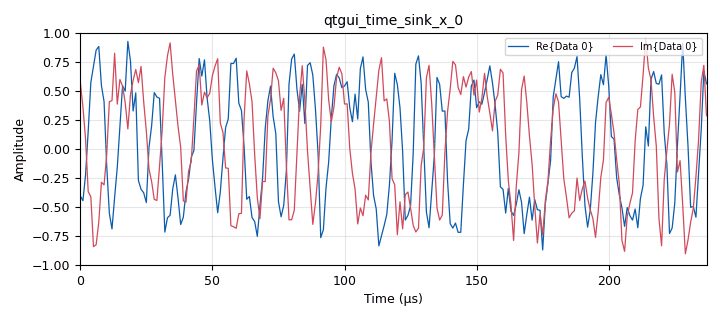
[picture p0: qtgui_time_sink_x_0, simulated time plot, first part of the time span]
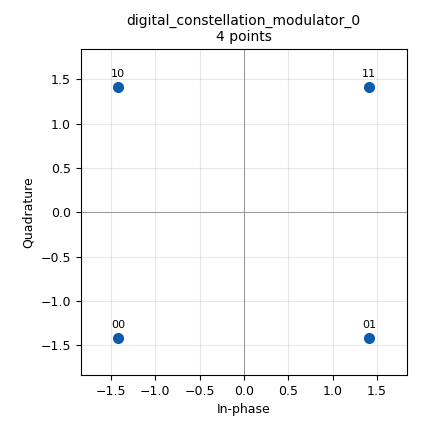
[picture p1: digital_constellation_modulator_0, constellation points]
options:
  parameters:
    author: Marc Lichtman
    comment: |-
      Run Rx first, then run Tx
      Close Rx first, then close Tx
    generate_options: qt_gui
    id: pn11_over_difi_tx
    output_language: python
    title: PN11 Over DIFI Tx
  states: {}

blocks:
- name: constellation_obj
  id: variable_constellation
  parameters:
    precision: '8'
    type: qpsk
  states: {}
- name: difi_samp_rate
  id: variable
  parameters:
    comment: |-
      below 1 MHz I get tons
      of out of order packets
      for some reason
    value: '1000000'
  states: {}
- name: noise
  id: variable_qtgui_range
  parameters:
    label: Noise Level
    start: '0'
    step: '0.01'
    stop: '2'
    value: '0.5'
  states: {}
- name: sps
  id: variable
  parameters:
    value: '4'
  states: {}
- name: analog_fastnoise_source_x_0
  id: analog_fastnoise_source_x
  parameters:
    amp: noise
    noise_type: analog.GR_GAUSSIAN
    samples: '8192'
    seed: '0'
    type: complex
  states: {}
- name: blocks_add_xx_0
  id: blocks_add_xx
  parameters:
    type: complex
  states: {}
- name: blocks_complex_to_interleaved_char_0
  id: blocks_complex_to_interleaved_char
  parameters:
    scale_factor: '1.0'
    vector_output: 'True'
  states: {}
- name: blocks_multiply_const_vxx_0
  id: blocks_multiply_const_vxx
  parameters:
    comment: 127 for 8-bit
    const: '127'
    type: complex
  states: {}
- name: blocks_multiply_const_vxx_0_0
  id: blocks_multiply_const_vxx
  parameters:
    comment: |-
      Signal should stay
      between -1 to +1
    const: '0.35'
    type: complex
  states: {}
- name: blocks_pack_k_bits_bb_0
  id: blocks_pack_k_bits_bb
  parameters:
    k: '8'
  states: {}
- name: blocks_throttle2_0
  id: blocks_throttle2
  parameters:
    samples_per_second: difi_samp_rate/2
    type: byte
  states: {}
- name: blocks_vector_source_x_0
  id: blocks_vector_source_x
  parameters:
    comment: |-
      Vector was copied from
      python snippet below
    repeat: 'True'
    type: byte
    vector: (1,0,0,0,0,0,0,0,0,0,0,1,0,0,0,0,0,0,0,0,1,0,1,0,0,0,0,0,0,1,0,0,0,1,0,0,0,0,1,0,1,0,1,0,1,0,0,1,0,0,0,0,0,0,0,1,1,0,1,0,0,0,0,0,1,1,1,0,0,1,0,0,0,1,1,0,1,1,1,0,1,0,1,1,1,0,1,0,1,0,0,0,1,0,1,0,0,0,0,1,0,1,0,0,0,1,0,0,1,0,0,0,1,0,1,0,1,1,0,1,0,1,0,0,0,0,1,1,0,0,0,0,1,0,0,1,1,1,1,0,0,1,0,1,1,1,0,0,1,1,1,0,0,1,0,1,1,1,1,0,1,1,1,0,0,1,0,0,1,0,1,0,1,1,1,0,1,1,0,0,0,0,1,0,1,0,1,1,1,0,0,1,0,0,0,0,1,0,1,1,1,0,1,0,0,1,0,0,1,0,1,0,0,1,1,0,1,1,0,0,0,1,1,1,1,0,1,1,1,0,1,1,0,0,1,0,1,0,1,0,1,1,1,1,0,0,0,0,0,0,1,0,0,1,1,0,0,0,0,1,0,1,1,1,1,1,0,0,1,0,0,1,0,0,0,1,1,1,0,1,1,0,1,0,1,1,0,1,0,1,1,0,0,0,1,1,0,0,0,1,1,1,0,1,1,1,1,0,1,1,0,1,0,1,0,0,1,0,1,1,0,0,0,0,1,1,0,0,1,1,1,0,0,1,1,1,1,1,1,0,1,1,1,1,0,0,0,0,1,0,1,0,0,1,1,0,0,1,0,0,0,1,1,1,1,1,1,0,1,0,1,1,0,0,0,0,1,0,0,0,1,1,1,0,0,1,0,1,0,1,1,0,1,1,1,0,0,0,0,1,1,0,1,0,1,1,0,0,1,1,1,0,0,0,1,1,1,1,1,0,1,1,0,1,1,0,0,0,1,0,1,1,0,1,1,1,0,1,0,0,1,1,0,1,0,1,0,0,1,1,1,1,0,0,0,0,1,1,1,0,0,1,1,0,0,1,1,0,1,1,1,1,1,1,1,1,1,0,1,0,0,0,0,0,0,0,1,0,0,1,0,0,0,0,0,1,0,1,1,0,1,0,0,0,1,0,0,1,1,0,0,1,0,1,0,1,1,1,1,1,1,0,0,0,0,1,0,0,0,0,1,1,0,0,1,0,1,0,0,1,1,1,1,1,0,0,0,1,1,1,0,0,0,1,1,0,1,1,0,1,1,0,1,1,1,0,1,1,0,1,1,0,1,0,1,0,1,1,0,1,1,0,0,0,0,0,1,1,0,1,1,1,0,0,0,1,1,1,0,1,0,1,1,0,1,1,0,1,0,0,0,1,1,0,1,1,0,0,1,0,1,1,1,0,1,1,1,1,0,0,1,0,1,0,1,0,0,1,1,1,0,0,0,0,0,1,1,1,0,1,1,0,0,0,1,1,0,1,0,1,1,1,0,1,1,1,0,0,0,1,0,1,0,1,0,1,1,0,1,0,0,0,0,0,0,1,1,0,0,1,0,0,0,0,1,1,1,1,1,0,1,0,0,1,1,0,0,0,1,0,0,1,1,1,1,1,0,1,0,1,1,1,0,0,0,1,0,0,0,1,0,1,1,0,1,0,1,0,1,0,0,1,1,0,0,0,0,0,0,1,1,1,1,1,0,0,0,0,1,1,0,0,0,1,1,0,0,1,1,1,1,0,1,1,1,1,1,1,0,0,1,0,1,0,0,0,0,1,1,1,0,0,0,1,0,0,1,1,0,1,1,0,1,0,1,1,1,1,0,1,1,0,0,0,1,0,0,1,0,1,1,1,0,1,0,1,1,0,0,1,0,1,0,0,0,1,1,1,1,0,0,0,1,0,1,1,0,0,1,1,0,1,0,0,1,1,1,1,1,1,0,0,1,1,1,0,0,0,0,1,1,1,1,0,1,1,0,0,1,1,0,0,1,0,1,1,1,1,1,1,1,1,0,0,1,0,0,0,0,0,0,1,1,1,0,1,0,0,0,0,1,1,0,1,0,0,1,0,0,1,1,1,0,0,1,1,0,1,1,1,0,1,1,1,1,1,0,1,0,1,0,1,0,0,0,1,0,0,0,0,0,0,1,0,1,0,1,0,0,0,0,1,0,0,0,0,0,1,0,0,1,0,1,0,0,0,1,0,1,1,0,0,0,1,0,1,0,0,1,1,1,0,1,0,0,0,1,1,1,0,1,0,0,1,0,1,1,0,1,0,0,1,1,0,0,1,1,0,0,1,1,1,1,1,1,1,1,1,1,1,0,0,0,0,0,0,0,0,0,1,1,0,0,0,0,0,0,0,1,1,1,1,0,0,0,0,0,1,1,0,0,1,1,0,0,0,1,1,1,1,1,1,1,1,0,1,1,0,0,0,0,0,0,1,0,1,1,1,0,0,0,0,1,0,0,1,0,1,1,0,0,1,0,1,1,0,0,1,1,1,1,0,0,1,1,1,1,1,0,0,1,1,1,1,0,0,0,1,1,1,1,0,0,1,1,0,1,1,0,0,1,1,1,1,1,0,1,1,1,1,1,0,0,0,1,0,1,0,0,0,1,1,0,1,0,0,0,1,0,1,1,1,0,0,1,0,1,0,0,1,0,1,1,1,0,0,0,1,1,0,0,1,0,1,1,0,1,1,1,1,1,0,0,1,1,0,1,0,0,0,1,1,1,1,1,0,0,1,0,1,1,0,0,0,1,1,1,0,0,1,1,1,0,1,1,0,1,1,1,1,0,1,0,1,1,0,1,0,0,1,0,0,0,1,1,0,0,1,1,0,1,0,1,1,1,1,1,1,1,0,0,0,1,0,0,0,0,0,1,1,0,1,0,1,0,0,0,1,1,1,0,0,0,0,1,0,1,1,0,1,1,0,0,1,0,0,1,1,0,1,1,1,1,0,1,1,1,1,0,1,0,0,1,0,1,0,0,1,0,0,1,1,0,0,0,1,1,0,1,1,1,1,1,0,1,1,1,0,1,0,0,0,1,0,1,0,1,0,0,1,0,1,0,0,0,0,0,1,1,0,0,0,1,0,0,0,1,1,1,1,0,1,0,1,0,1,1,0,0,1,0,0,0,0,0,1,1,1,1,0,1,0,0,0,1,1,0,0,1,0,0,1,0,1,1,1,1,1,0,1,1,0,0,1,0,0,0,1,0,1,1,1,1,0,1,0,1,0,0,1,0,0,1,0,0,0,0,1,1,0,1,1,0,1,0,0,1,1,1,0,1,1,0,0,1,1,1,0,1,0,1,1,1,1,1,0,1,0,0,0,1,0,0,0,1,0,0,1,0,1,0,1,0,1,0,1,1,0,0,0,0,0,0,0,0,1,1,1,0,0,0,0,0,0,1,1,0,1,1,0,0,0,0,1,1,1,0,1,1,1,0,0,1,1,0,1,0,1,0,1,1,1,1,1,0,0,0,0,0,1,0,0,0,1,1,0,0,0,1,0,1,0,1,1,1,1,0,1,0,0,0,0,1,0,0,1,0,0,1,0,0,1,0,1,1,0,1,1,0,1,1,0,0,1,1,0,1,1,0,1,1,1,1,1,1,0,1,1,0,1,0,0,0,0,1,0,1,1,0,0,1,0,0,1,0,0,1,1,1,1,0,1,1,0,1,1,1,0,0,1,0,1,1,0,1,0,1,1,1,0,0,1,1,0,0,0,1,0,1,1,1,1,1,1,0,1,0,0,1,0,0,0,0,1,0,0,1,1,0,1,0,0,1,0,1,1,1,1,0,0,1,1,0,0,1,0,0,1,1,1,1,1,1,1,0,1,1,1,0,0,0,0,0,1,0,1,0,1,1,0,0,0,1,0,0,0,0,1,1,1,0,1,0,1,0,0,1,1,0,1,0,0,0,0,1,1,1,1,0,0,1,0,0,1,1,0,0,1,1,1,0,1,1,1,1,1,1,1,0,1,0,1,0,0,0,0,0,1,0,0,0,0,1,0,0,0,1,0,1,0,0,1,0,1,0,1,0,0,0,1,1,0,0,0,0,0,1,0,1,1,1,1,0,0,0,1,0,0,1,0,0,1,1,0,1,0,1,1,0,1,1,1,1,0,0,0,1,1,0,1,0,0,1,1,0,1,1,1,0,0,1,1,1,1,0,1,0,1,1,1,1,0,0,1,0,0,0,1,0,0,1,1,1,0,1,0,1,0,1,1,1,0,1,0,0,0,0,0,1,0,1,0,0,1,0,0,0,1,0,0,0,1,1,0,1,0,1,0,1,0,1,1,1,0,0,0,0,0,0,0,1,0,1,1,0,0,0,0,0,1,0,0,1,1,1,0,0,0,1,0,1,1,1,0,1,1,0,1,0,0,1,0,1,0,1,1,0,0,1,1,0,0,0,0,1,1,1,1,1,1,1,0,0,1,1,0,0,0,0,0,1,1,1,1,1,1,0,0,0,1,1,0,0,0,0,1,1,0,1,1,1,1,0,0,1,1,1,0,1,0,0,1,1,1,1,0,1,0,0,1,1,1,0,0,1,0,0,1,1,1,0,1,1,1,0,1,1,1,0,1,0,1,0,1,0,1,0)
  states: {}
- name: difi_sink_cpp_0
  id: difi_sink_cpp
  parameters:
    bit_depth: '8'
    comment: |-
      there are 2 items going into the DIFI Sink for
      every 1 bit coming out of the source block
      (2 bits per symbol but 4 samples per symbol)
    context_pack_size: '108'
    context_packet_send_count: '10'
    data_size: '128'
    ip_addr: 127.0.0.1
    port: '50003'
    protocol: '2'
    sample_rate: difi_samp_rate
    stream_id: '0'
  states: {}
- name: digital_constellation_modulator_0
  id: digital_constellation_modulator
  parameters:
    constellation: constellation_obj
    differential: 'False'
    excess_bw: '0.35'
    samples_per_symbol: sps
  states: {}
- name: epy_block_2
  id: epy_block
  parameters:
    _source_code: |
      import numpy as np
      from gnuradio import gr

      class blk(gr.sync_block):  # other base classes are basic_block, decim_block, interp_block
          def __init__(self, samples=1000):  # only default arguments here
              gr.sync_block.__init__(
                  self,
                  name='Print first N samples',
                  in_sig=[np.uint8],
                  out_sig=[]
              )
              self.samples = samples
              self.i = 0

          def work(self, input_items, output_items):
              if self.i < self.samples:
                  N = min(self.samples - self.i, len(input_items[0]))
                  print(input_items[0][0:N])
                  self.i += N
                  return N
              else:
                  return len(input_items[0])
    samples: '30'
  states: {state: disabled}
- name: epy_block_3
  id: epy_block
  parameters:
    _source_code: "from gnuradio import gr\nimport numpy as np\n\ndef pn11_gen(seed, length):\n    reg = [int(x) for x in f\"{seed:011b}\"]\n    output = []\n    for _ in range(length):\n        output_bit = reg[-1]\n        output.append(output_bit)\n        # Feedback using taps at positions 11 and 9 (indexes 10 and 8)\n        feedback = reg[10] ^ reg[8]\n        # Shift left and insert feedback at the beginning\n        reg = [feedback] + reg[:-1]\n    return np.asarray(output)\n    \nclass pn11_source(gr.sync_block):\n    def __init__(self, seed=1):\n        gr.sync_block.__init__(self,\n            name=\"PN11 Gen\",\n            in_sig=None,\n            out_sig=[np.uint8])\n        \n        self.length = 2047  # Length of PN11 sequence: 2^11 - 1\n        self.seq = np.zeros(self.length, dtype=np.uint8)\n        \n        '''\n        # Generate PN11 sequence once\n        reg = seed # non-zero 11-bit integer\n        for i in range(self.length):\n            self.seq[i] = (reg >> 10) & 1\n            bit_11 = (reg >> 10) & 0x01\n            bit_9 = (reg >> 8) & 0x01\n            new_bit = bit_11 ^ bit_9\n            reg = ((reg << 1) & 0x7FF) | new_bit\n        '''\n        self.seq = pn11_gen(seed=seed, length=self.length)\n\n        self.idx = 0  # Current index in sequence\n\n    def work(self, input_items, output_items):\n        out = output_items[0]\n        n = len(out)\n        \n        # Copy precomputed PN sequence to output, wrap around if needed\n        for i in range(n):\n            out[i] = self.seq[self.idx]\n            self.idx = (self.idx + 1) % self.length\n        \n        return n\n\n"
    comment: repeats every 2047 bits
    seed: '1'
  states: {state: disabled}
- name: qtgui_time_sink_x_0
  id: qtgui_time_sink_x
  parameters:
    size: '1024'
    srate: difi_samp_rate
    type: complex
  states: {}
- name: snippet_0
  id: snippet
  parameters:
    code: |-
      import numpy as np
      seed = 1
      length = 2047
      reg = [int(x) for x in f"{seed:011b}"]
      output = []
      for _ in range(length):
          output_bit = reg[-1]
          output.append(output_bit)
          # Feedback using taps at positions 11 and 9 (indexes 10 and 8)
          feedback = reg[10] ^ reg[8]
          # Shift left and insert feedback at the beginning
          reg = [feedback] + reg[:-1]
      output = np.asarray(output, dtype=np.uint8)
      # commpy.sequences.pnsequence(11, f'{seed:0{11}b}', '00000000101', 2047)
      # This is designed to be copy-pasted into the Vector Source block
      print("(", end="")
      for i in range(length):
          print(output[i], end=",")
      print(")")
    section: main_after_init
  states: {state: disabled}

connections:
- [analog_fastnoise_source_x_0, '0', blocks_add_xx_0, '0']
- [blocks_add_xx_0, '0', blocks_multiply_const_vxx_0_0, '0']
- [blocks_complex_to_interleaved_char_0, '0', difi_sink_cpp_0, '0']
- [blocks_multiply_const_vxx_0, '0', blocks_complex_to_interleaved_char_0, '0']
- [blocks_multiply_const_vxx_0_0, '0', blocks_multiply_const_vxx_0, '0']
- [blocks_multiply_const_vxx_0_0, '0', qtgui_time_sink_x_0, '0']
- [blocks_pack_k_bits_bb_0, '0', digital_constellation_modulator_0, '0']
- [blocks_throttle2_0, '0', blocks_pack_k_bits_bb_0, '0']
- [blocks_vector_source_x_0, '0', blocks_throttle2_0, '0']
- [digital_constellation_modulator_0, '0', blocks_add_xx_0, '1']
- [epy_block_3, '0', blocks_throttle2_0, '0']
- [epy_block_3, '0', epy_block_2, '0']

metadata:
  file_format: 1
  grc_version: 3.10.9.2
